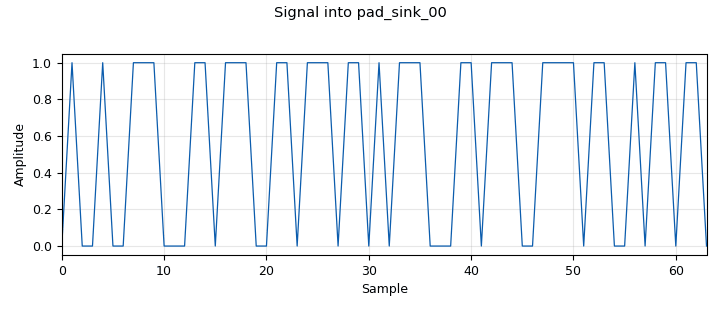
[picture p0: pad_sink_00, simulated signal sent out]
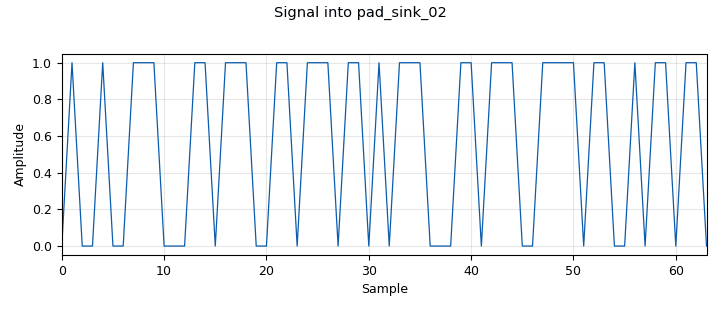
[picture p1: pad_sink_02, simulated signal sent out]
options:
  parameters:
    author: Cristóvão Rufino
    generate_options: hb
    id: nasa_ber_generator
    output_language: python
    title: NASA BER Generator
  states: {}

blocks:
- name: analog_random_uniform_source_x_0
  id: analog_random_uniform_source_x
  parameters:
    maximum: '2'
    minimum: '0'
    seed: '0'
    type: byte
  states: {}
- name: blocks_delay_0
  id: blocks_delay
  parameters:
    comment: |-
      O delay foi necessário para poder sincronizar a saída
      da fonte de sinal com o atraso que a decodificação 
      faz.
    delay: '4'
    type: byte
  states: {}
- name: nasa_ber_one_stage_0
  id: nasa_ber_one_stage
  parameters:
    noise_voltage: 10**-(0/10)
  states: {}
- name: nasa_ber_one_stage_0_0
  id: nasa_ber_one_stage
  parameters:
    noise_voltage: 10**-(1/10)
  states: {}
- name: nasa_ber_one_stage_0_1
  id: nasa_ber_one_stage
  parameters:
    noise_voltage: 10**-(2/10)
  states: {}
- name: nasa_ber_one_stage_0_2
  id: nasa_ber_one_stage
  parameters:
    noise_voltage: 10**-(3/10)
  states: {}
- name: nasa_ber_one_stage_0_3
  id: nasa_ber_one_stage
  parameters:
    noise_voltage: 10**-(4/10)
  states: {}
- name: nasa_ber_one_stage_0_4
  id: nasa_ber_one_stage
  parameters:
    noise_voltage: 10**-(5/10)
  states: {}
- name: nasa_ber_one_stage_0_5
  id: nasa_ber_one_stage
  parameters:
    noise_voltage: 10**-(6/10)
  states: {}
- name: nasa_ber_one_stage_0_6
  id: nasa_ber_one_stage
  parameters:
    noise_voltage: 10**-(7/10)
  states: {}
- name: pad_sink_00
  id: pad_sink
  parameters:
    label: out0
    type: byte
  states: {}
- name: pad_sink_01
  id: pad_sink
  parameters:
    label: out1
    type: byte
  states: {}
- name: pad_sink_02
  id: pad_sink
  parameters:
    label: out2
    type: byte
  states: {}
- name: pad_sink_03
  id: pad_sink
  parameters:
    label: out3
    type: byte
  states: {}
- name: pad_sink_04
  id: pad_sink
  parameters:
    label: out4
    type: byte
  states: {}
- name: pad_sink_05
  id: pad_sink
  parameters:
    label: out5
    type: byte
  states: {}
- name: pad_sink_06
  id: pad_sink
  parameters:
    label: out6
    type: byte
  states: {}
- name: pad_sink_07
  id: pad_sink
  parameters:
    label: out7
    type: byte
  states: {}
- name: pad_sink_08
  id: pad_sink
  parameters:
    label: out8
    type: byte
  states: {}
- name: pad_sink_09
  id: pad_sink
  parameters:
    label: out9
    type: byte
  states: {}
- name: pad_sink_10
  id: pad_sink
  parameters:
    label: out10
    type: byte
  states: {}
- name: pad_sink_11
  id: pad_sink
  parameters:
    label: out11
    type: byte
  states: {}
- name: pad_sink_12
  id: pad_sink
  parameters:
    label: out12
    type: byte
  states: {}
- name: pad_sink_13
  id: pad_sink
  parameters:
    label: out13
    type: byte
  states: {}
- name: pad_sink_14
  id: pad_sink
  parameters:
    label: out14
    type: byte
  states: {}
- name: pad_sink_15
  id: pad_sink
  parameters:
    label: out15
    type: byte
  states: {}
- name: virtual_sink_0
  id: virtual_sink
  parameters:
    stream_id: randSource
  states: {}
- name: virtual_sink_0_0
  id: virtual_sink
  parameters:
    stream_id: randSource2
  states: {}
- name: virtual_source_0
  id: virtual_source
  parameters:
    stream_id: randSource2
  states: {}
- name: virtual_source_0_0
  id: virtual_source
  parameters:
    stream_id: randSource2
  states: {}
- name: virtual_source_0_0_0
  id: virtual_source
  parameters:
    stream_id: randSource2
  states: {}
- name: virtual_source_0_0_1
  id: virtual_source
  parameters:
    stream_id: randSource2
  states: {}
- name: virtual_source_0_0_2
  id: virtual_source
  parameters:
    stream_id: randSource
  states: {}
- name: virtual_source_0_0_2_0
  id: virtual_source
  parameters:
    stream_id: randSource
  states: {}
- name: virtual_source_0_0_2_1
  id: virtual_source
  parameters:
    stream_id: randSource
  states: {}
- name: virtual_source_0_1
  id: virtual_source
  parameters:
    stream_id: randSource2
  states: {}
- name: virtual_source_0_1_0
  id: virtual_source
  parameters:
    stream_id: randSource2
  states: {}
- name: virtual_source_0_1_1
  id: virtual_source
  parameters:
    stream_id: randSource
  states: {}
- name: virtual_source_0_1_1_0
  id: virtual_source
  parameters:
    stream_id: randSource
  states: {}
- name: virtual_source_0_2
  id: virtual_source
  parameters:
    stream_id: randSource2
  states: {}
- name: virtual_source_0_3
  id: virtual_source
  parameters:
    stream_id: randSource2
  states: {}
- name: virtual_source_0_4
  id: virtual_source
  parameters:
    stream_id: randSource
  states: {}
- name: virtual_source_0_4_0
  id: virtual_source
  parameters:
    stream_id: randSource
  states: {}
- name: virtual_source_0_4_1
  id: virtual_source
  parameters:
    stream_id: randSource
  states: {}

connections:
- [analog_random_uniform_source_x_0, '0', blocks_delay_0, '0']
- [analog_random_uniform_source_x_0, '0', virtual_sink_0, '0']
- [blocks_delay_0, '0', virtual_sink_0_0, '0']
- [nasa_ber_one_stage_0, '0', pad_sink_01, '0']
- [nasa_ber_one_stage_0_0, '0', pad_sink_03, '0']
- [nasa_ber_one_stage_0_1, '0', pad_sink_05, '0']
- [nasa_ber_one_stage_0_2, '0', pad_sink_07, '0']
- [nasa_ber_one_stage_0_3, '0', pad_sink_09, '0']
- [nasa_ber_one_stage_0_4, '0', pad_sink_11, '0']
- [nasa_ber_one_stage_0_5, '0', pad_sink_13, '0']
- [nasa_ber_one_stage_0_6, '0', pad_sink_15, '0']
- [virtual_source_0, '0', pad_sink_02, '0']
- [virtual_source_0_0, '0', pad_sink_04, '0']
- [virtual_source_0_0_0, '0', pad_sink_14, '0']
- [virtual_source_0_0_1, '0', pad_sink_10, '0']
- [virtual_source_0_0_2, '0', nasa_ber_one_stage_0_0, '0']
- [virtual_source_0_0_2_0, '0', nasa_ber_one_stage_0_3, '0']
- [virtual_source_0_0_2_1, '0', nasa_ber_one_stage_0_6, '0']
- [virtual_source_0_1, '0', pad_sink_06, '0']
- [virtual_source_0_1_0, '0', pad_sink_00, '0']
- [virtual_source_0_1_1, '0', nasa_ber_one_stage_0_1, '0']
- [virtual_source_0_1_1_0, '0', nasa_ber_one_stage_0_4, '0']
- [virtual_source_0_2, '0', pad_sink_08, '0']
- [virtual_source_0_3, '0', pad_sink_12, '0']
- [virtual_source_0_4, '0', nasa_ber_one_stage_0, '0']
- [virtual_source_0_4_0, '0', nasa_ber_one_stage_0_2, '0']
- [virtual_source_0_4_1, '0', nasa_ber_one_stage_0_5, '0']

metadata:
  file_format: 1
  grc_version: 3.10.8.0
